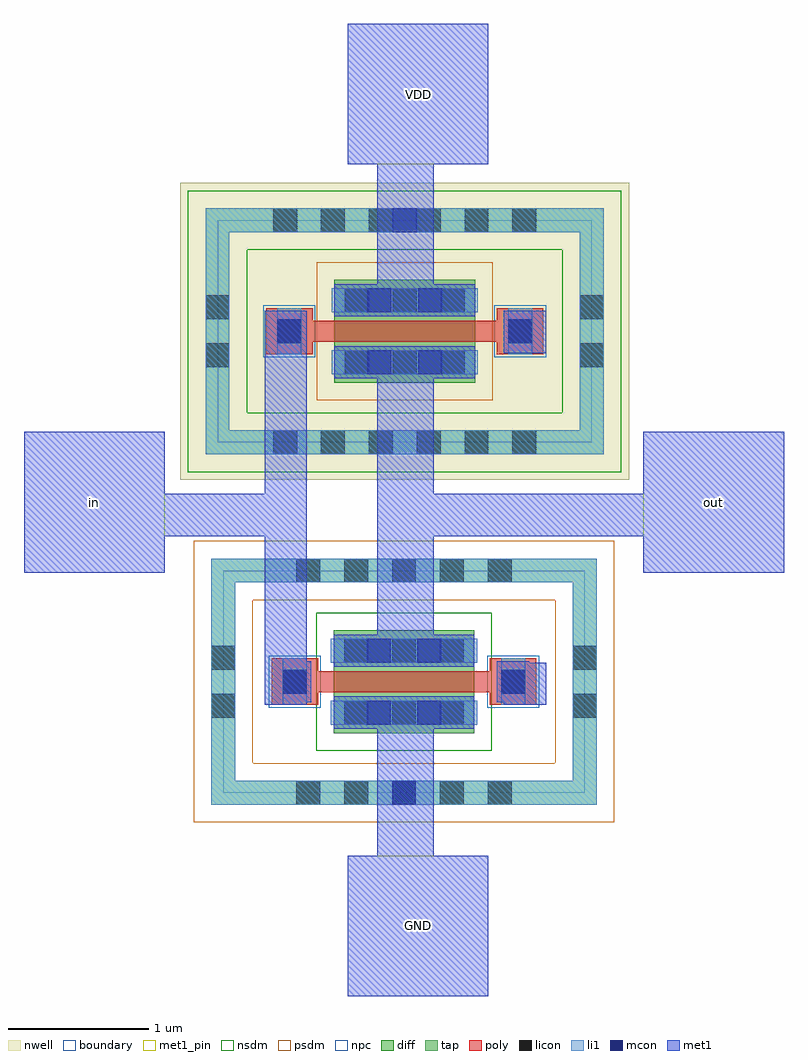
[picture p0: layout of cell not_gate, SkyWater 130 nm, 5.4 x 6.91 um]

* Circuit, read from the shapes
.subckt not_gate GND VDD in out
XM1 out in GND GND sky130_fd_pr__nfet_01v8 w=1 l=0.15
XM2 VDD in out VDD sky130_fd_pr__pfet_01v8 w=1 l=0.15
.ends

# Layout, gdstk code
from math import pi, radians
import gdstk
lib = gdstk.Library(unit=1e-6, precision=1e-09)
def R(c, l, rs):  # rectangles x0, y0, x1, y1
    for r in rs: c.add(gdstk.rectangle(r[:2], r[2:], *l))
def A(c, l, x, y, w, h, nx, ny, dx, dy):  # array of equal rectangles
    R(c, l, [(x+i*dx, y+j*dy, x+i*dx+w, y+j*dy+h) for i in range(nx) for j in range(ny)])
nwell = (64, 20)
diff = (65, 20)
tap = (65, 44)
poly = (66, 20)
licon = (66, 44)
li1 = (67, 20)
mcon = (67, 44)
met1_pin = (68, 16)
met1 = (68, 20)
nsdm = (93, 44)
psdm = (94, 20)
npc = (95, 20)
boundary = (235, 4)

sky130_fd_pr__pfet_01v8_ = lib.new_cell('sky130_fd_pr__pfet_01v8_J8PPQP')
R(sky130_fd_pr__pfet_01v8_, nwell, [(-1.055,-1.595,1.055,1.595)])
R(sky130_fd_pr__pfet_01v8_, diff, [(-0.365,-0.5,0.365,0.5)])
R(sky130_fd_pr__pfet_01v8_, tap, [(-0.875,-1.415,0.875,-1.245), (-0.875,-1.245,-0.705,1.245), (0.705,-1.245,0.875,1.245), (-0.875,1.245,0.875,1.415)])
R(sky130_fd_pr__pfet_01v8_, poly, [(-0.165,-0.985,0.165,-0.655), (-0.075,-0.655,0.075,0.655), (-0.165,0.655,0.165,0.985)])
A(sky130_fd_pr__pfet_01v8_, licon, -0.875, -0.935, 0.17, 0.17, 1, 6, 0, 0.34)
A(sky130_fd_pr__pfet_01v8_, licon, 0.705, -0.935, 0.17, 0.17, 1, 6, 0, 0.34)
A(sky130_fd_pr__pfet_01v8_, licon, -0.305, -0.425, 0.17, 0.17, 1, 3, 0, 0.34)
A(sky130_fd_pr__pfet_01v8_, licon, 0.135, -0.425, 0.17, 0.17, 1, 3, 0, 0.34)
R(sky130_fd_pr__pfet_01v8_, licon, [(-0.255,-1.415,-0.085,-1.245), (0.085,-1.415,0.255,-1.245), (-0.085,-0.905,0.085,-0.735), (-0.085,0.735,0.085,0.905), (-0.255,1.245,-0.085,1.415), (0.085,1.245,0.255,1.415)])
R(sky130_fd_pr__pfet_01v8_, li1, [(-0.875,-1.415,0.875,-1.245), (-0.875,-1.245,-0.705,1.245), (0.705,-1.245,0.875,1.245), (-0.165,-0.905,0.165,-0.735), (-0.305,-0.52,-0.135,0.52), (0.135,-0.52,0.305,0.52), (-0.165,0.735,0.165,0.905), (-0.875,1.245,0.875,1.415)])
R(sky130_fd_pr__pfet_01v8_, mcon, [(-0.085,-0.905,0.085,-0.735), (-0.305,-0.265,-0.135,-0.095), (0.135,-0.265,0.305,-0.095), (-0.305,0.095,-0.135,0.265), (0.135,0.095,0.305,0.265), (-0.085,0.735,0.085,0.905)])
R(sky130_fd_pr__pfet_01v8_, met1, [(-0.145,-0.935,0.145,-0.705), (-0.335,-0.5,-0.105,0.5), (0.105,-0.5,0.335,0.5), (-0.145,0.705,0.145,0.935)])
R(sky130_fd_pr__pfet_01v8_, nsdm, [(-1,-1.54,1,-1.12), (-1,-1.12,-0.58,1.12), (0.58,-1.12,1,1.12), (-1,1.12,1,1.54)])
R(sky130_fd_pr__pfet_01v8_, psdm, [(-0.49,-0.625,0.49,0.625)])
R(sky130_fd_pr__pfet_01v8_, npc, [(-0.185,-1.005,0.185,-0.635), (-0.185,0.635,0.185,1.005)])
R(sky130_fd_pr__pfet_01v8_, boundary, [(-0.79,-1.33,0.79,1.33)])

sky130_fd_pr__nfet_01v8_ = lib.new_cell('sky130_fd_pr__nfet_01v8_TGNW9T')
R(sky130_fd_pr__nfet_01v8_, diff, [(-0.365,-0.5,0.365,0.5)])
R(sky130_fd_pr__nfet_01v8_, tap, [(-0.875,-1.37,0.875,-1.2), (-0.875,-1.2,-0.705,1.2), (0.705,-1.2,0.875,1.2), (-0.875,1.2,0.875,1.37)])
R(sky130_fd_pr__nfet_01v8_, poly, [(-0.165,-0.94,0.165,-0.61), (-0.075,-0.61,0.075,0.61), (-0.165,0.61,0.165,0.94)])
A(sky130_fd_pr__nfet_01v8_, licon, -0.875, -0.765, 0.17, 0.17, 1, 5, 0, 0.34)
A(sky130_fd_pr__nfet_01v8_, licon, 0.705, -0.765, 0.17, 0.17, 1, 5, 0, 0.34)
A(sky130_fd_pr__nfet_01v8_, licon, -0.305, -0.425, 0.17, 0.17, 1, 3, 0, 0.34)
A(sky130_fd_pr__nfet_01v8_, licon, 0.135, -0.425, 0.17, 0.17, 1, 3, 0, 0.34)
R(sky130_fd_pr__nfet_01v8_, licon, [(-0.255,-1.37,-0.085,-1.2), (0.085,-1.37,0.255,-1.2), (-0.085,-0.86,0.085,-0.69), (-0.085,0.69,0.085,0.86), (-0.255,1.2,-0.085,1.37), (0.085,1.2,0.255,1.37)])
R(sky130_fd_pr__nfet_01v8_, li1, [(-0.875,-1.37,0.875,-1.2), (-0.875,-1.2,-0.705,1.2), (0.705,-1.2,0.875,1.2), (-0.165,-0.86,0.165,-0.69), (-0.305,-0.52,-0.135,0.52), (0.135,-0.52,0.305,0.52), (-0.165,0.69,0.165,0.86), (-0.875,1.2,0.875,1.37)])
R(sky130_fd_pr__nfet_01v8_, mcon, [(-0.085,-0.86,0.085,-0.69), (-0.305,-0.265,-0.135,-0.095), (0.135,-0.265,0.305,-0.095), (-0.305,0.095,-0.135,0.265), (0.135,0.095,0.305,0.265), (-0.085,0.69,0.085,0.86)])
R(sky130_fd_pr__nfet_01v8_, met1, [(-0.145,-0.89,0.145,-0.66), (-0.335,-0.5,-0.105,0.5), (0.105,-0.5,0.335,0.5), (-0.145,0.66,0.145,0.89)])
R(sky130_fd_pr__nfet_01v8_, nsdm, [(-0.49,-0.625,0.49,0.625)])
R(sky130_fd_pr__nfet_01v8_, psdm, [(-1,-1.495,1,-1.075), (-1,-1.075,-0.58,1.075), (0.58,-1.075,1,1.075), (-1,1.075,1,1.495)])
R(sky130_fd_pr__nfet_01v8_, npc, [(-0.185,-0.96,0.185,-0.59), (-0.185,0.59,0.185,0.96)])
R(sky130_fd_pr__nfet_01v8_, boundary, [(-0.79,-1.285,0.79,1.285)])

not_gate = lib.new_cell('not_gate')
R(not_gate, li1, [(1.505,-2.31,1.675,-2.14), (1.51,1.76,1.68,1.93)])
R(not_gate, mcon, [(1.505,-2.31,1.675,-2.14), (1.51,1.76,1.68,1.93)])
R(not_gate, met1_pin, [(1.19,-3.67,2.19,-2.67), (-1.11,-0.66,-0.11,0.34), (3.29,-0.66,4.29,0.34), (1.19,2.24,2.19,3.24)])
R(not_gate, met1, [(1.19,-3.67,2.19,-2.67), (1.4,-2.67,1.8,-1.6), (0.6,-1.6,0.9,-0.4), (2.3,-1.6,2.6,-1.3), (1.4,-1.3,1.8,-0.4), (-1.11,-0.66,-0.11,-0.4), (3.29,-0.66,4.29,-0.4), (-1.11,-0.4,0.9,-0.1), (1.4,-0.4,4.29,-0.1), (-1.11,-0.1,-0.11,0.34), (0.6,-0.1,0.9,1.2), (1.4,-0.1,1.8,0.9), (3.29,-0.1,4.29,0.34), (2.3,0.9,2.6,1.2), (1.4,1.2,1.8,2.24), (1.19,2.24,2.19,3.24)])
not_gate.add(gdstk.Reference(sky130_fd_pr__pfet_01v8_, (1.595,1.055), rotation=3*pi/2))
not_gate.add(gdstk.Reference(sky130_fd_pr__nfet_01v8_, (1.59,-1.435), rotation=3*pi/2))
not_gate.add(gdstk.Label('out', (3.79,-0.16), layer=68, texttype=5))
not_gate.add(gdstk.Label('in', (-0.61,-0.16), layer=68, texttype=5))
not_gate.add(gdstk.Label('GND', (1.69,-3.17), layer=68, texttype=5))
not_gate.add(gdstk.Label('VDD', (1.69,2.74), layer=68, texttype=5))

lib.write_gds('not_gate.gds')
